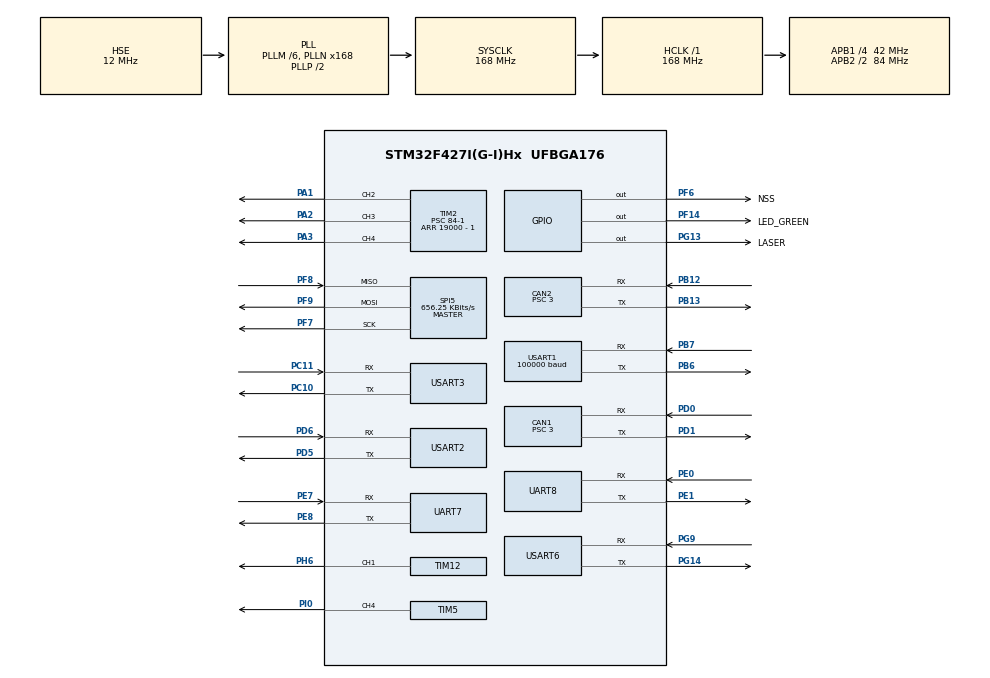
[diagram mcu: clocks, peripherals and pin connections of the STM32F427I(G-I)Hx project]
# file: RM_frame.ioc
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CAN1.BS1=CAN_BS1_9TQ
CAN1.BS2=CAN_BS2_4TQ
CAN1.CalculateTimeBit=1000
CAN1.CalculateTimeQuantum=71.42857142857143
CAN1.Prescaler=3
CAN2.BS1=CAN_BS1_9TQ
CAN2.BS2=CAN_BS2_4TQ
CAN2.CalculateTimeBit=1000
CAN2.CalculateTimeQuantum=71.42857142857143
CAN2.Prescaler=3
Dma.Request0=USART3_RX
Dma.Request1=UART7_RX
Dma.Request2=USART2_RX
Dma.Request3=UART8_RX
Dma.Request4=UART8_TX
Dma.Request5=USART6_RX
Dma.Request6=USART1_RX
Dma.Request7=USART6_TX
Dma.UART7_RX.1.Direction=DMA_PERIPH_TO_MEMORY
Dma.UART7_RX.1.FIFOMode=DMA_FIFOMODE_DISABLE
Dma.UART7_RX.1.Instance=DMA1_Stream3
Dma.UART7_RX.1.MemDataAlignment=DMA_MDATAALIGN_BYTE
Dma.UART7_RX.1.MemInc=DMA_MINC_ENABLE
Dma.UART7_RX.1.Mode=DMA_NORMAL
Dma.UART7_RX.1.PeriphDataAlignment=DMA_PDATAALIGN_BYTE
Dma.UART7_RX.1.PeriphInc=DMA_PINC_DISABLE
Dma.UART7_RX.1.Priority=DMA_PRIORITY_LOW
Dma.UART8_RX.3.Direction=DMA_PERIPH_TO_MEMORY
Dma.UART8_RX.3.FIFOMode=DMA_FIFOMODE_DISABLE
Dma.UART8_RX.3.Instance=DMA1_Stream6
Dma.UART8_RX.3.MemDataAlignment=DMA_MDATAALIGN_BYTE
Dma.UART8_RX.3.MemInc=DMA_MINC_ENABLE
Dma.UART8_RX.3.Mode=DMA_NORMAL
Dma.UART8_RX.3.PeriphDataAlignment=DMA_PDATAALIGN_BYTE
Dma.UART8_RX.3.PeriphInc=DMA_PINC_DISABLE
Dma.UART8_RX.3.Priority=DMA_PRIORITY_LOW
Dma.UART8_TX.4.Direction=DMA_MEMORY_TO_PERIPH
Dma.UART8_TX.4.FIFOMode=DMA_FIFOMODE_DISABLE
Dma.UART8_TX.4.Instance=DMA1_Stream0
Dma.UART8_TX.4.MemDataAlignment=DMA_MDATAALIGN_BYTE
Dma.UART8_TX.4.MemInc=DMA_MINC_ENABLE
Dma.UART8_TX.4.Mode=DMA_NORMAL
Dma.UART8_TX.4.PeriphDataAlignment=DMA_PDATAALIGN_BYTE
Dma.UART8_TX.4.PeriphInc=DMA_PINC_DISABLE
Dma.UART8_TX.4.Priority=DMA_PRIORITY_LOW
Dma.USART1_RX.6.Direction=DMA_PERIPH_TO_MEMORY
Dma.USART1_RX.6.FIFOMode=DMA_FIFOMODE_DISABLE
Dma.USART1_RX.6.Instance=DMA2_Stream2
Dma.USART1_RX.6.MemDataAlignment=DMA_MDATAALIGN_BYTE
Dma.USART1_RX.6.MemInc=DMA_MINC_ENABLE
Dma.USART1_RX.6.Mode=DMA_NORMAL
Dma.USART1_RX.6.PeriphDataAlignment=DMA_PDATAALIGN_BYTE
Dma.USART1_RX.6.PeriphInc=DMA_PINC_DISABLE
Dma.USART1_RX.6.Priority=DMA_PRIORITY_LOW
Dma.USART2_RX.2.Direction=DMA_PERIPH_TO_MEMORY
Dma.USART2_RX.2.FIFOMode=DMA_FIFOMODE_DISABLE
Dma.USART2_RX.2.Instance=DMA1_Stream5
Dma.USART2_RX.2.MemDataAlignment=DMA_MDATAALIGN_BYTE
Dma.USART2_RX.2.MemInc=DMA_MINC_ENABLE
Dma.USART2_RX.2.Mode=DMA_NORMAL
Dma.USART2_RX.2.PeriphDataAlignment=DMA_PDATAALIGN_BYTE
Dma.USART2_RX.2.PeriphInc=DMA_PINC_DISABLE
Dma.USART2_RX.2.Priority=DMA_PRIORITY_LOW
Dma.USART3_RX.0.Direction=DMA_PERIPH_TO_MEMORY
Dma.USART3_RX.0.FIFOMode=DMA_FIFOMODE_DISABLE
Dma.USART3_RX.0.Instance=DMA1_Stream1
Dma.USART3_RX.0.MemDataAlignment=DMA_MDATAALIGN_BYTE
Dma.USART3_RX.0.MemInc=DMA_MINC_ENABLE
Dma.USART3_RX.0.Mode=DMA_NORMAL
Dma.USART3_RX.0.PeriphDataAlignment=DMA_PDATAALIGN_BYTE
Dma.USART3_RX.0.PeriphInc=DMA_PINC_DISABLE
Dma.USART3_RX.0.Priority=DMA_PRIORITY_LOW
Dma.USART6_RX.5.Direction=DMA_PERIPH_TO_MEMORY
Dma.USART6_RX.5.FIFOMode=DMA_FIFOMODE_DISABLE
Dma.USART6_RX.5.Instance=DMA2_Stream1
Dma.USART6_RX.5.MemDataAlignment=DMA_MDATAALIGN_BYTE
Dma.USART6_RX.5.MemInc=DMA_MINC_ENABLE
Dma.USART6_RX.5.Mode=DMA_NORMAL
Dma.USART6_RX.5.PeriphDataAlignment=DMA_PDATAALIGN_BYTE
Dma.USART6_RX.5.PeriphInc=DMA_PINC_DISABLE
Dma.USART6_RX.5.Priority=DMA_PRIORITY_LOW
Dma.USART6_TX.7.Direction=DMA_MEMORY_TO_PERIPH
Dma.USART6_TX.7.FIFOMode=DMA_FIFOMODE_DISABLE
Dma.USART6_TX.7.Instance=DMA2_Stream6
Dma.USART6_TX.7.MemDataAlignment=DMA_MDATAALIGN_BYTE
Dma.USART6_TX.7.MemInc=DMA_MINC_ENABLE
Dma.USART6_TX.7.Mode=DMA_NORMAL
Dma.USART6_TX.7.PeriphDataAlignment=DMA_PDATAALIGN_BYTE
Dma.USART6_TX.7.PeriphInc=DMA_PINC_DISABLE
Dma.USART6_TX.7.Priority=DMA_PRIORITY_LOW
IWDG.Prescaler=IWDG_PRESCALER_32
IWDG.Reload=300
Mcu.Family=STM32F4
Mcu.Name=STM32F427I(G-I)Hx
Mcu.Package=UFBGA176
NVIC.CAN1_RX0_IRQn=true\:0\:0\:true\:false\:true\:true
NVIC.CAN1_TX_IRQn=true\:0\:0\:true\:false\:true\:true
NVIC.CAN2_RX0_IRQn=true\:1\:0\:true\:false\:true\:true
NVIC.CAN2_TX_IRQn=true\:2\:0\:true\:false\:true\:true
NVIC.DMA1_Stream0_IRQn=true\:0\:0\:true\:false\:true\:false
NVIC.DMA1_Stream1_IRQn=true\:0\:0\:false\:false\:true\:false
NVIC.DMA1_Stream3_IRQn=true\:0\:0\:false\:false\:true\:false
NVIC.DMA1_Stream5_IRQn=true\:0\:0\:false\:false\:true\:false
NVIC.DMA1_Stream6_IRQn=true\:1\:0\:true\:false\:true\:false
NVIC.DMA2_Stream1_IRQn=true\:0\:0\:false\:false\:true\:false
NVIC.DMA2_Stream2_IRQn=true\:0\:0\:false\:false\:true\:false
NVIC.DMA2_Stream6_IRQn=true\:0\:0\:false\:false\:true\:false
NVIC.PriorityGroup=NVIC_PRIORITYGROUP_4
NVIC.TIM1_UP_TIM10_IRQn=true\:4\:0\:true\:false\:true\:true
NVIC.TIM6_DAC_IRQn=true\:3\:0\:true\:false\:true\:true
NVIC.TIM7_IRQn=true\:0\:0\:true\:false\:true\:true
NVIC.UART7_IRQn=true\:0\:0\:false\:false\:true\:true
NVIC.UART8_IRQn=true\:4\:0\:true\:false\:true\:true
NVIC.USART1_IRQn=true\:0\:0\:true\:false\:true\:true
NVIC.USART2_IRQn=true\:0\:0\:false\:false\:true\:true
NVIC.USART3_IRQn=true\:0\:0\:false\:false\:true\:true
NVIC.USART6_IRQn=true\:1\:0\:true\:false\:true\:true
PA1.Signal=S_TIM2_CH2
PA2.Signal=S_TIM2_CH3
PA3.Signal=S_TIM2_CH4
PB12.Mode=Slave
PB12.Signal=CAN2_RX
PB13.Mode=Slave
PB13.Signal=CAN2_TX
PB6.Mode=Asynchronous
PB6.Signal=USART1_TX
PB7.Mode=Asynchronous
PB7.Signal=USART1_RX
PC10.Mode=Asynchronous
PC10.Signal=USART3_TX
PC11.Mode=Asynchronous
PC11.Signal=USART3_RX
PD0.Mode=Master
PD0.Signal=CAN1_RX
PD1.Mode=Master
PD1.Signal=CAN1_TX
PD5.Mode=Asynchronous
PD5.Signal=USART2_TX
PD6.Mode=Asynchronous
PD6.Signal=USART2_RX
PE0.Mode=Asynchronous
PE0.Signal=UART8_RX
PE1.Mode=Asynchronous
PE1.Signal=UART8_TX
PE7.Mode=Asynchronous
PE7.Signal=UART7_RX
PE8.Mode=Asynchronous
PE8.Signal=UART7_TX
PF14.GPIO_Label=LED_GREEN
PF14.Signal=GPIO_Output
PF6.GPIO_Label=NSS
PF6.Signal=GPIO_Output
PF7.Mode=Full_Duplex_Master
PF7.Signal=SPI5_SCK
PF8.Mode=Full_Duplex_Master
PF8.Signal=SPI5_MISO
PF9.Mode=Full_Duplex_Master
PF9.Signal=SPI5_MOSI
PG13.GPIO_Label=LASER
PG13.Signal=GPIO_Output
PG14.Mode=Asynchronous
PG14.Signal=USART6_TX
PG9.Mode=Asynchronous
PG9.Signal=USART6_RX
PH0/OSC_IN.Mode=HSE-External-Oscillator
PH0/OSC_IN.Signal=RCC_OSC_IN
PH1/OSC_OUT.Mode=HSE-External-Oscillator
PH1/OSC_OUT.Signal=RCC_OSC_OUT
PH6.Signal=S_TIM12_CH1
PI0.Signal=S_TIM5_CH4
ProjectManager.HeapSize=0x200
ProjectManager.StackSize=0x400
ProjectManager.TargetToolchain=MDK-ARM V5
RCC.48MHZClocksFreq_Value=84000000
RCC.AHBFreq_Value=168000000
RCC.APB1CLKDivider=RCC_HCLK_DIV4
RCC.APB1Freq_Value=42000000
RCC.APB1TimFreq_Value=84000000
RCC.APB2CLKDivider=RCC_HCLK_DIV2
RCC.APB2Freq_Value=84000000
RCC.APB2TimFreq_Value=168000000
RCC.CortexFreq_Value=168000000
RCC.HCLKFreq_Value=168000000
RCC.HSE_VALUE=12000000
RCC.HSI_VALUE=16000000
RCC.LSE_VALUE=32768
RCC.PLLM=6
RCC.PLLN=168
RCC.PLLSourceVirtual=RCC_PLLSOURCE_HSE
RCC.SYSCLKFreq_VALUE=168000000
RCC.SYSCLKSource=RCC_SYSCLKSOURCE_PLLCLK
RCC.VCOOutputFreq_Value=336000000
SH.S_TIM12_CH1.0=TIM12_CH1,PWM Generation1 CH1
SH.S_TIM2_CH2.0=TIM2_CH2,PWM Generation2 CH2
SH.S_TIM2_CH3.0=TIM2_CH3,PWM Generation3 CH3
SH.S_TIM2_CH4.0=TIM2_CH4,PWM Generation4 CH4
SH.S_TIM5_CH4.0=TIM5_CH4,PWM Generation4 CH4
SPI5.BaudRatePrescaler=SPI_BAUDRATEPRESCALER_128
SPI5.CalculateBaudRate=656.25 KBits/s
SPI5.Direction=SPI_DIRECTION_2LINES
SPI5.Mode=SPI_MODE_MASTER
SPI5.VirtualType=VM_MASTER
TIM10.Period=10000
TIM10.Prescaler=168-1
TIM12.Channel-PWM\ Generation1\ CH1=TIM_CHANNEL_1
TIM12.Period=2500-1
TIM12.Prescaler=84-1
TIM12.Pulse-PWM\ Generation1\ CH1=1000
TIM2.Channel-PWM\ Generation2\ CH2=TIM_CHANNEL_2
TIM2.Channel-PWM\ Generation3\ CH3=TIM_CHANNEL_3
TIM2.Channel-PWM\ Generation4\ CH4=TIM_CHANNEL_4
TIM2.Period=19000 - 1
TIM2.Prescaler=84-1
TIM5.Channel-PWM\ Generation4\ CH4=TIM_CHANNEL_4
TIM5.Period=1000000
TIM5.Prescaler=84-1
TIM5.Pulse-PWM\ Generation4\ CH4=1000
TIM6.Period=2000
TIM6.Prescaler=84-1
TIM7.Period=1000
TIM7.Prescaler=84-1
UART7.VirtualMode=Asynchronous
UART8.VirtualMode=Asynchronous
USART1.BaudRate=100000
USART1.Mode=MODE_RX
USART1.Parity=PARITY_EVEN
USART1.VirtualMode=VM_ASYNC
USART1.WordLength=WORDLENGTH_9B
USART2.VirtualMode=VM_ASYNC
USART3.VirtualMode=VM_ASYNC
USART6.VirtualMode=VM_ASYNC
VP_IWDG_VS_IWDG.Mode=IWDG_Activate
VP_TIM10_VS_ClockSourceINT.Mode=Enable_Timer
VP_TIM12_VS_ClockSourceINT.Mode=Internal
VP_TIM2_VS_ClockSourceINT.Mode=Internal
VP_TIM6_VS_ClockSourceINT.Mode=Enable_Timer
VP_TIM7_VS_ClockSourceINT.Mode=Enable_Timer
board=RM_frame

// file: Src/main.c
/**
  ******************************************************************************
  * @file           : main.c
  * @brief          : Main program body
  ******************************************************************************
  ** This notice applies to any and all portions of this file
  * that are not between comment pairs USER CODE BEGIN and
  * USER CODE END. Other portions of this file, whether
  * inserted by the user or by software development tools
  * are owned by their respective copyright owners.
  *
  * COPYRIGHT(c) 2018 STMicroelectronics
  *
  * Redistribution and use in source and binary forms, with or without modification,
  * are permitted provided that the following conditions are met:
  *   1. Redistributions of source code must retain the above copyright notice,
  *      this list of conditions and the following disclaimer.
  *   2. Redistributions in binary form must reproduce the above copyright notice,
  *      this list of conditions and the following disclaimer in the documentation
  *      and/or other materials provided with the distribution.
  *   3. Neither the name of STMicroelectronics nor the names of its contributors
  *      may be used to endorse or promote products derived from this software
  *      without specific prior written permission.
  *
  * THIS SOFTWARE IS PROVIDED BY THE COPYRIGHT HOLDERS AND CONTRIBUTORS "AS IS"
  * AND ANY EXPRESS OR IMPLIED WARRANTIES, INCLUDING, BUT NOT LIMITED TO, THE
  * IMPLIED WARRANTIES OF MERCHANTABILITY AND FITNESS FOR A PARTICULAR PURPOSE ARE
  * DISCLAIMED. IN NO EVENT SHALL THE COPYRIGHT HOLDER OR CONTRIBUTORS BE LIABLE
  * FOR ANY DIRECT, INDIRECT, INCIDENTAL, SPECIAL, EXEMPLARY, OR CONSEQUENTIAL
  * DAMAGES (INCLUDING, BUT NOT LIMITED TO, PROCUREMENT OF SUBSTITUTE GOODS OR
  * SERVICES; LOSS OF USE, DATA, OR PROFITS; OR BUSINESS INTERRUPTION) HOWEVER
  * CAUSED AND ON ANY THEORY OF LIABILITY, WHETHER IN CONTRACT, STRICT LIABILITY,
  * OR TORT (INCLUDING NEGLIGENCE OR OTHERWISE) ARISING IN ANY WAY OUT OF THE USE
  * OF THIS SOFTWARE, EVEN IF ADVISED OF THE POSSIBILITY OF SUCH DAMAGE.
  *
  ******************************************************************************
  */
#include "main.h"
#include "stm32f4xx_hal.h"
#include "can.h"
#include "dma.h"
#include "iwdg.h"
#include "spi.h"
#include "tim.h"
#include "usart.h"
#include "gpio.h"

/* USER CODE BEGIN Includes */
#include "includes.h"
/* USER CODE END Includes */

/* USER CODE BEGIN PV */
uint32_t ADC_Value[160];
/* Private variables ---------------------------------------------------------*/

/* USER CODE END PV */

void SystemClock_Config(void);

/* USER CODE BEGIN PFP */
/* Private function prototypes -----------------------------------------------*/

/* USER CODE END PFP */

int main(void)
{

  /* MCU Configuration----------------------------------------------------------*/

  /* Reset of all peripherals, Initializes the Flash interface and the Systick. */
  HAL_Init();

  /* Configure the system clock */
  SystemClock_Config();

  /* USER CODE BEGIN SysInit */
	HAL_NVIC_DisableIRQ(USART2_IRQn);
	HAL_NVIC_DisableIRQ(USART3_IRQn);
	HAL_NVIC_DisableIRQ(USART6_IRQn);
	HAL_NVIC_DisableIRQ(DMA1_Stream1_IRQn);
	HAL_NVIC_DisableIRQ(DMA1_Stream5_IRQn);
	HAL_NVIC_DisableIRQ(DMA2_Stream1_IRQn);

	HAL_NVIC_DisableIRQ(CAN1_RX0_IRQn);
	HAL_NVIC_DisableIRQ(CAN2_RX0_IRQn);
	HAL_NVIC_DisableIRQ(USART1_IRQn);
	HAL_NVIC_DisableIRQ(DMA2_Stream2_IRQn);
	HAL_NVIC_DisableIRQ(TIM7_IRQn);
	HAL_NVIC_DisableIRQ(TIM6_DAC_IRQn);
	#ifdef DEBUG_MODE
		HAL_NVIC_DisableIRQ(TIM1_UP_TIM10_IRQn);
	#endif
  /* USER CODE END SysInit */

  /* Initialize all configured peripherals */
  MX_GPIO_Init();
  MX_DMA_Init();
  MX_CAN1_Init();
  MX_CAN2_Init();
  MX_SPI5_Init();
  MX_USART1_UART_Init();
  MX_TIM6_Init();
  MX_TIM12_Init();
  MX_USART6_UART_Init();
  MX_TIM7_Init();
  MX_TIM10_Init();
  MX_TIM2_Init();
  MX_IWDG_Init();
  MX_TIM5_Init();
  MX_USART3_UART_Init();
  MX_UART7_Init();
  MX_USART2_UART_Init();
  MX_UART8_Init();
  /* USER CODE BEGIN 2 */
	//各模块初始化
	#ifdef FRIC_PWM_MODE//临时使用，后续不需要
	HAL_TIM_PWM_Start(&htim2,TIM_CHANNEL_2);
	__HAL_TIM_SetCompare(&htim2,TIM_CHANNEL_2,800);
	__HAL_TIM_SetCompare(&htim2,TIM_CHANNEL_3,800);
	#endif /*FRIC_PWM_MODE*/
	InitRemoteControl();
	Motor_ID_Setting();
	for(int i=0;i<8;i++) {InitMotor(can1[i]);InitMotor(can2[i]);}
	InitPWM();
	InitCanReception();
	#ifdef DEBUG_MODE
	ctrlUartInit();
	//时间中断
	HAL_TIM_Base_Start_IT(&htim10);
	#endif
	HAL_TIM_Base_Start_IT(&htim6);
	HAL_TIM_Base_Start_IT(&htim7);
	HAL_TIM_PWM_Start(&htim2, TIM_CHANNEL_3);
	HAL_TIM_PWM_Start(&htim2, TIM_CHANNEL_4);
	#ifdef USE_GYRO
	InitGyroUart();
	#endif /*USE_GYRO*/
	mpu_device_init();
	init_quaternion();
	imu_update_start();
	InitJudgeUart();
	InitAutoAim();

	//ADC
	//HAL_ADC_Start_DMA(&hadc1,(uint32_t*)&ADC_Value,160);

	//其他中断
	HAL_NVIC_EnableIRQ(CAN1_RX0_IRQn);
	HAL_NVIC_EnableIRQ(CAN2_RX0_IRQn);
	HAL_NVIC_EnableIRQ(USART1_IRQn);
	HAL_NVIC_EnableIRQ(DMA2_Stream2_IRQn);
	HAL_NVIC_EnableIRQ(TIM6_DAC_IRQn);
	HAL_NVIC_EnableIRQ(TIM7_IRQn);
	#ifdef DEBUG_MODE
		HAL_NVIC_EnableIRQ(TIM1_UP_TIM10_IRQn);
	#endif
	__HAL_UART_ENABLE_IT(&UPPER_UART, UART_IT_IDLE);

  /* USER CODE END 2 */

  /* Infinite loop */
  while (1)
  {

  }

}

void SystemClock_Config(void)
{

  RCC_OscInitTypeDef RCC_OscInitStruct;
  RCC_ClkInitTypeDef RCC_ClkInitStruct;

    /**Configure the main internal regulator output voltage
    */
  __HAL_RCC_PWR_CLK_ENABLE();

  __HAL_PWR_VOLTAGESCALING_CONFIG(PWR_REGULATOR_VOLTAGE_SCALE1);

    /**Initializes the CPU, AHB and APB busses clocks
    */
  RCC_OscInitStruct.OscillatorType = RCC_OSCILLATORTYPE_LSI|RCC_OSCILLATORTYPE_HSE;
  RCC_OscInitStruct.HSEState = RCC_HSE_ON;
  RCC_OscInitStruct.LSIState = RCC_LSI_ON;
  RCC_OscInitStruct.PLL.PLLState = RCC_PLL_ON;
  RCC_OscInitStruct.PLL.PLLSource = RCC_PLLSOURCE_HSE;
  RCC_OscInitStruct.PLL.PLLM = 6;
  RCC_OscInitStruct.PLL.PLLN = 168;
  RCC_OscInitStruct.PLL.PLLP = RCC_PLLP_DIV2;
  RCC_OscInitStruct.PLL.PLLQ = 4;
  if (HAL_RCC_OscConfig(&RCC_OscInitStruct) != HAL_OK)
  {
    _Error_Handler(__FILE__, __LINE__);
  }

    /**Initializes the CPU, AHB and APB busses clocks
    */
  RCC_ClkInitStruct.ClockType = RCC_CLOCKTYPE_HCLK|RCC_CLOCKTYPE_SYSCLK
                              |RCC_CLOCKTYPE_PCLK1|RCC_CLOCKTYPE_PCLK2;
  RCC_ClkInitStruct.SYSCLKSource = RCC_SYSCLKSOURCE_PLLCLK;
  RCC_ClkInitStruct.AHBCLKDivider = RCC_SYSCLK_DIV1;
  RCC_ClkInitStruct.APB1CLKDivider = RCC_HCLK_DIV4;
  RCC_ClkInitStruct.APB2CLKDivider = RCC_HCLK_DIV2;

  if (HAL_RCC_ClockConfig(&RCC_ClkInitStruct, FLASH_LATENCY_5) != HAL_OK)
  {
    _Error_Handler(__FILE__, __LINE__);
  }

    /**Configure the Systick interrupt time
    */
  HAL_SYSTICK_Config(HAL_RCC_GetHCLKFreq()/1000);

    /**Configure the Systick
    */
  HAL_SYSTICK_CLKSourceConfig(SYSTICK_CLKSOURCE_HCLK);

  /* SysTick_IRQn interrupt configuration */
  HAL_NVIC_SetPriority(SysTick_IRQn, 0, 0);
}

void _Error_Handler(char *file, int line)
{
  while(1)
  {
  }
}

/************************ (C) COPYRIGHT STMicroelectronics *****END OF FILE****/
